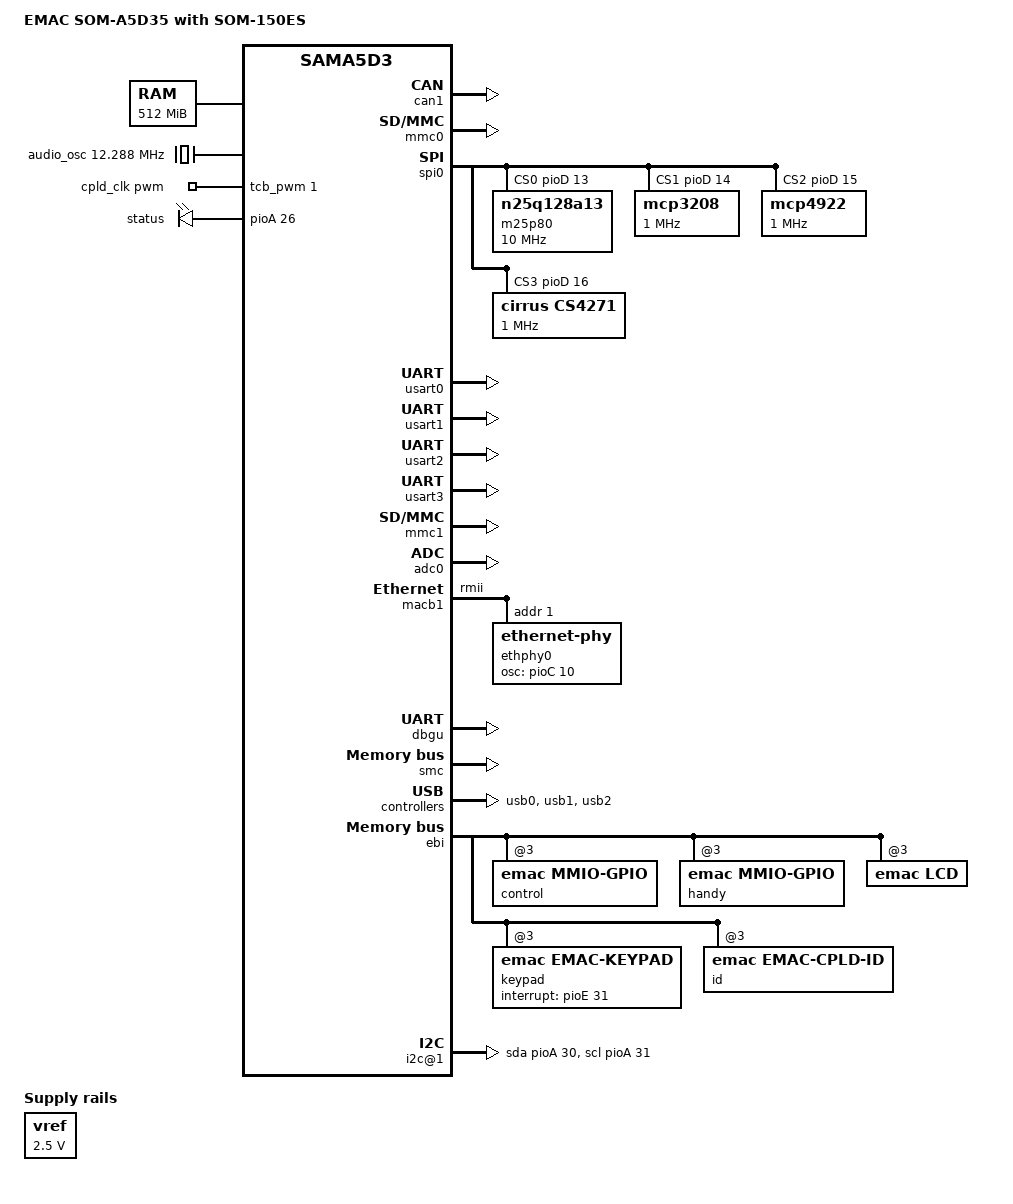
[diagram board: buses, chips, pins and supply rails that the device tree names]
/*
 * som-a5d35-150es.dts - Device Tree file for the SoM-A5D35 / SoM-150ES.
 *
 *  Copyright (C) 2018 EMAC Inc.
 *
 * Licensed under GPLv2 or later.
 */
/dts-v1/;
#include "sama5d35.dtsi"

/ {
	model = "EMAC SOM-A5D35 with SOM-150ES";
	compatible = "emac,soma5d35", "atmel,sama5d3", "atmel,sama5";

	aliases {
		spi0 = &spi0;
	};

	memory {
		reg = <0x20000000 0x20000000>;
	};

	clocks {
		#address-cells = <1>;
		#size-cells = <1>;
		ranges;

		main_clock: clock@0 {
			compatible = "atmel,osc", "fixed-clock";
			clock-frequency = <12000000>;
		};

		slow_xtal {
			clock-frequency = <32768>;
		};

		main_xtal {
			clock-frequency = <12000000>;
		};

		phy_clk: clock@1 {
			compatible = "fixed-clock";
			#clock-cells = <0>;
			clock-output-names = "rmii-ref";
			clock-frequency = <50000000>;
		};

		audio_osc: audio_osc {
			compatible = "fixed-clock";
			#clock-cells = <0>;
			clock-frequency = <12288000>;
		};
	};

	regulators {
		compatible = "simple-bus";
		#address-cells = <1>;
		#size-cells = <0>;

		vref: regulator@0 {
			compatible = "regulator-fixed";
			reg = <0>;
			regulator-name = "vref";
			regulator-min-microvolt = <2500000>;
			regulator-max-microvolt = <2500000>;
			regulator-always-on;
		};
	};

	sound {
		compatible = "simple-audio-card";
		simple-audio-card,name = "cs4271 @ SOMA5D35";
		simple-audio-card,format = "i2s";
		simple-audio-card,bitclock-master = <&codec_master>;
		simple-audio-card,frame-master = <&codec_master>;
		simple-audio-card,widgets =
			"Line", "Line In",
			"Line", "Line Out";
		simple-audio-card,routing =
			"Line In", "Capture",
			"Line Out", "Playback";

		cpu_master: simple-audio-card,cpu {
			sound-dai = <&ssc1>;
		};

		codec_master: simple-audio-card,codec {
			sound-dai = <&cs4271>;
		};
	};

	ahb {
		apb {

			can0: can@f000c000 {
				status = "disabled";
			};
			
			can1: can@f8010000 {
				status = "okay";
			};

			mmc0: mmc@f0000000 {
				pinctrl-names = "default";
				pinctrl-0 = <&pinctrl_mmc0_clk_cmd_dat0 &pinctrl_mmc0_dat1_3>;
				status = "okay";
				slot@0 {
					reg = <0>;
					bus-width = <4>;
					non-removable;
				};
			};

			spi0: spi@f0004000 {
				cs-gpios = <&pioD 13 0>, <&pioD 14 0>, <&pioD 15 0>, <&pioD 16 0>;
				status = "okay";

				m25p80@0 {
					compatible = "n25q128a13";
					spi-max-frequency = <10000000>;
					spi-cpol;
					spi-cpha;
					reg = <0>;
				};

				mcp3208: mcp320x@1 {
					compatible = "mcp3208";
					spi-max-frequency = <1000000>;
					spi-cpol;
					spi-cpha;
					reg = <1>;
					status = "okay";
				};

				mcp4922: mcp49x2@2 {
					compatible = "mcp4922";
					spi-max-frequency = <1000000>;
					spi-cpol;
					spi-cpha;
					reg = <2>;
					vref = <&vref>;
					status = "okay";
				};

				cs4271: cs4271@3 {
					#sound-dai-cells = <0>;
					compatible = "cirrus,cs4271";
					spi-cpol;
					spi-cpha;
					reg = <3>;
					clocks = <&audio_osc>;
					spi-max-frequency = <1000000>;
					status = "okay";
				};
			};

			ssc1: ssc@f800c000 {
				#sound-dai-cells = <0>;
				status = "okay";
			};

			i2c0: i2c@f0014000 {
				status = "disabled";
			};

			usart0: serial@f001c000 {
				atmel,use-dma-tx;
				atmel,use-dma-rx;
				status = "okay";
			};

			usart1: serial@f0020000 {
				pinctrl-names = "default";
				pinctrl-0 = <&pinctrl_usart1 &pinctrl_usart1_rts_cts>;
				atmel,use-dma-tx;
				atmel,use-dma-rx;
				status = "okay";
			};

			usart2: serial@f8020000 {
				pinctrl-names = "default";
				pinctrl-0 = <&pinctrl_usart2 &pinctrl_usart2_rts_cts>;
				atmel,use-dma-tx;
				atmel,use-dma-rx;
				status = "okay";
			};

			usart3: serial@f8024000 {
				atmel,use-dma-tx;
				atmel,use-dma-rx;
				status = "okay";
			};

			mmc1: mmc@f8000000 {
				pinctrl-names = "default";
				pinctrl-0 = <&pinctrl_mmc1_clk_cmd_dat0 &pinctrl_mmc1_dat1_3 &pinctrl_mmc1_cd>;
				status = "okay";
				slot@0 {
					reg = <0>;
					bus-width = <4>;
					cd-gpios = <&pioC 13 GPIO_ACTIVE_LOW>;
				};
			};

			adc0: adc@f8018000 {
				pinctrl-names = "default";
				pinctrl-0 = <
					&pinctrl_adc0_ad0
					&pinctrl_adc0_ad1
					&pinctrl_adc0_ad2
					&pinctrl_adc0_ad3
					>;
				atmel,adc-channels-used = <0x0f>;
				status = "okay";
			};

			macb1: ethernet@f802c000 {
				phy-mode = "rmii";
				status = "okay";
				#address-cells = <1>;
				#size-cells = <0>;

				ethphy0: ethernet-phy {
					reg = <0x1>;
					clocks = <&phy_clk>;
					clock-names = "rmii-ref";
					phy-handle = <&ethphy0>;
					osc-gpio = <&pioC 10 0>;
				};
			};

			pinctrl@fffff200 {
				board {
					pinctrl_mmc1_cd: mmc1_cd {
						atmel,pins =
							<AT91_PIOC 13 AT91_PERIPH_GPIO AT91_PINCTRL_PULL_UP_DEGLITCH>;
					};

					pinctrl_i2c_gpio: i2c_gpio-0 {
						atmel,pins =
							<AT91_PIOA 30 AT91_PERIPH_GPIO AT91_PINCTRL_MULTI_DRIVE
							 AT91_PIOA 31 AT91_PERIPH_GPIO AT91_PINCTRL_MULTI_DRIVE>;
					};
					pinctrl_keypad: keypad-board {
						atmel,pins =
							<AT91_PIOE 31 AT91_PERIPH_GPIO AT91_PINCTRL_DEBOUNCE
							 AT91_PIOC 12 AT91_PERIPH_B AT91_PINCTRL_NONE
							 AT91_PIOD 6 AT91_PERIPH_B AT91_PINCTRL_NONE>;
					};
				};
			};

			dbgu: serial@ffffee00 {
				status = "okay";
			};

			matrix: matrix@ffffec00 {
				compatible = "atmel,sama5d3-matrix", "syscon";
				reg = <0xffffec00 0x200>;
			};

			smc: smc@ffffc000 {
				compatible = "atmel,sama5d3-smc", "syscon";
				reg = <0xffffc000 0x1000>;
			};
		};

		usb0: gadget@500000 {
			status = "okay";
		};

		usb1: ohci@600000 {
			num-ports = <3>;
			status = "okay";
		};

		usb2: ehci@700000 {
			status = "okay";
		};

		ebi: ebi@10000000 {
			compatible = "atmel,sama5d3-ebi";
			#address-cells = <2>;
			#size-cells = <1>;
			atmel,smc = <&smc>;
			atmel,matrix = <&matrix>;
			reg = <0x10000000 0x10000000
				0x40000000 0x30000000>;
			ranges = <0x0 0x0 0x10000000 0x10000000
				  0x1 0x0 0x40000000 0x10000000
				  0x2 0x0 0x50000000 0x10000000
				  0x3 0x0 0x60000000 0x10000000>;
			clocks = <&hsmc_clk>;

			portc@3,6 {
				compatible = "emac,mmio-gpio";
				reg-names = "dat";
				reg = <3 6 1>;
				gpio-controller;
				no-input;
				#address-cells = <1>;
				#size-cells = <1>;
				#gpio-cells = <1>;
				bank-width = <1>;
			};

			portb@3,4 {
				compatible = "emac,mmio-gpio";
				reg-names = "dat", "dirout";
				reg = <3 4 1>, <3 5 1>;
				gpio-controller;
				#address-cells = <1>;
				#size-cells = <1>;
				#gpio-cells = <2>;
				bank-width = <1>;
			};

			porta@3,2 {
				compatible = "emac,mmio-gpio";
				reg-names = "dat", "dirout";
				reg = <3 2 1>, <3 3 1>;
				gpio-controller;
				#gpio-cells = <2>;
				#address-cells = <1>;
				#size-cells = <1>;
				bank-width = <1>;

				atmel,smc-read-mode = "nrd";
				atmel,smc-write-mode = "nwe";
				atmel,smc-bus-width = <8>;
				atmel,smc-ncs-rd-setup-ns = <8>;
				atmel,smc-ncs-wr-setup-ns = <8>;
				atmel,smc-nwe-setup-ns = <16>;
				atmel,smc-nrd-setup-ns = <16>;
				atmel,smc-ncs-rd-pulse-ns = <40>;
				atmel,smc-ncs-wr-pulse-ns = <40>;
				atmel,smc-nrd-pulse-ns = <24>;
				atmel,smc-nwe-pulse-ns = <24>;
				atmel,smc-nrd-cycle-ns = <64>;
				atmel,smc-nwe-cycle-ns = <64>;
				atmel,smc-tdf-ns = <16>;
			};

			control@3,8 {
				compatible = "emac,mmio-gpio";
				reg-names = "dat";
				reg = <3 8 1>;
				gpio-controller;
				no-input;
				#address-cells = <1>;
				#size-cells = <1>;
				#gpio-cells = <1>;
				bank-width = <1>;
			};

			handy@3,10 {
				compatible = "emac,mmio-gpio";
				reg-names = "dat", "dirout";
				reg = <3 10 1>, <3 11 1>;
				gpio-controller;
				#address-cells = <1>;
				#size-cells = <1>;
				#gpio-cells = <2>;
				bank-width = <1>;
			};


			lcd@3,0 {
				compatible = "emac,lcd";
				reg = <3 0 2>;
				#address-cells = <1>;
				#size-cells = <1>;
				bank-width = <1>;

				atmel,smc-read-mode = "nrd";
				atmel,smc-write-mode = "nwe";
				atmel,smc-bus-width = <8>;
				atmel,smc-ncs-rd-setup-ns = <8>;
				atmel,smc-ncs-wr-setup-ns = <16>;
				atmel,smc-nwe-setup-ns = <27>;
				atmel,smc-nrd-setup-ns = <6>;
				atmel,smc-ncs-rd-pulse-ns = <6>;
				atmel,smc-ncs-wr-pulse-ns = <81>;
				atmel,smc-nrd-pulse-ns = <6>;
				atmel,smc-nwe-pulse-ns = <94>;
				atmel,smc-nrd-cycle-ns = <14>;
				atmel,smc-nwe-cycle-ns = <128>;
				atmel,smc-tdf-ns = <15>;
			};

			keypad@3,7 {
				compatible = "emac,emac-keypad";
				reg = <3 7 1>;
				#address-cells = <1>;
				#size-cells = <1>;
				bank-width = <1>;

				clocks = <&cpld_clk>;
				clock-names = "cpldclk";

				pinctrl-names = "default";
				pinctrl-0 = <&pinctrl_keypad>;

				gpio-interrupt = <&pioE 31 0x0>;
				keypad,num-rows = <4>;
				keypad,num-columns = <4>;
				linux,keymap = <0x0000001e /*A*/
						0x01000008 /*7*/
						0x02000005 /*4*/
						0x03000002 /*1*/
						0x0001000b /*0*/
						0x01010009 /*8*/
						0x02010006 /*5*/
						0x03010003 /*2*/
						0x00020030 /*B*/
						0x0102000a /*9*/
						0x02020007 /*6*/
						0x03020004 /*3*/
						0x00030021 /*F*/
						0x01030012 /*E*/
						0x02030020 /*D*/
						0x0303002e /*C*/
						>;
			};

			id@3,0xf {
				compatible = "emac,emac-cpld-id";
				reg = <3 0xf 1>;
				#address-cells = <1>;
				#size-cells = <1>;

				atmel,smc-read-mode = "nrd";
				atmel,smc-write-mode = "nwe";
				atmel,smc-bus-width = <8>;
				atmel,smc-ncs-rd-setup-ns = <8>;
				atmel,smc-ncs-wr-setup-ns = <8>;
				atmel,smc-nwe-setup-ns = <16>;
				atmel,smc-nrd-setup-ns = <16>;
				atmel,smc-ncs-rd-pulse-ns = <40>;
				atmel,smc-ncs-wr-pulse-ns = <40>;
				atmel,smc-nrd-pulse-ns = <24>;
				atmel,smc-nwe-pulse-ns = <24>;
				atmel,smc-nrd-cycle-ns = <64>;
				atmel,smc-nwe-cycle-ns = <64>;
				atmel,smc-tdf-ns = <16>;
			};
		};
	};

	i2c@1 {
		compatible = "i2c-gpio";
		gpios = <&pioA 30 0 /* sda */
			 &pioA 31 0 /* scl */
			>;
		i2c-gpio,sda-open-drain;
		i2c-gpio,scl-open-drain;
		i2c-gpio,delay-us = <2>;	/* ~100 kHz */
		#address-cells = <1>;
		#size-cells = <0>;
		pinctrl-names = "default";
		pinctrl-0 = <&pinctrl_i2c_gpio>;
		status = "okay";
	};

	tcb_pwm: tcb_pwm {
		compatible = "atmel,tcb-pwm";
		#pwm-cells = <3>;
		tc-block = <0>;
	};

	cpld_clk: cpld_clk {
		compatible = "pwm-clock";
		#clock-cells = <0>;
		pwms = <&tcb_pwm 1 5000 0>; /* ~200 kHz */
	};

	leds {
		compatible = "gpio-leds";
		status {
			label = "status";
			gpios = <&pioA 26 GPIO_ACTIVE_HIGH>;
			default-state = "on";
		};
	};
};
